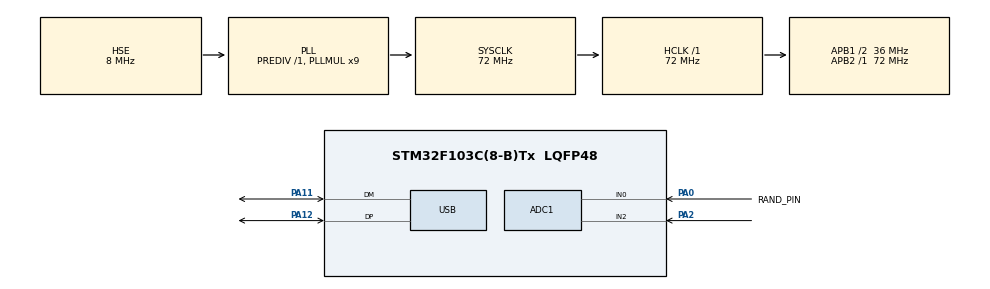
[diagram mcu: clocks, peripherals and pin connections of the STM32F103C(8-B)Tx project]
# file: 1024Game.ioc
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ADC1.Channel-0\#ChannelRegularConversion=ADC_CHANNEL_0
ADC1.Channel-1\#ChannelInjectedConversion=ADC_CHANNEL_2
ADC1.EnableInjectedConversion=ENABLE
ADC1.InjNumberOfConversion=1
ADC1.InjectedOffset-1\#ChannelInjectedConversion=0
ADC1.InjectedRank-1\#ChannelInjectedConversion=1
ADC1.NbrOfConversionFlag=1
ADC1.Rank-0\#ChannelRegularConversion=1
ADC1.SamplingTime-0\#ChannelRegularConversion=ADC_SAMPLETIME_1CYCLE_5
ADC1.SamplingTime-1\#ChannelInjectedConversion=ADC_SAMPLETIME_1CYCLE_5
ADC1.master=1
Mcu.Family=STM32F1
Mcu.Name=STM32F103C(8-B)Tx
Mcu.Package=LQFP48
NVIC.PriorityGroup=NVIC_PRIORITYGROUP_4
NVIC.USB_LP_CAN1_RX0_IRQn=true\:0\:0\:false\:false\:true\:false\:true\:true
PA0-WKUP.GPIO_Label=RAND_PIN
PA0-WKUP.Signal=ADCx_IN0
PA11.Mode=Device
PA11.Signal=USB_DM
PA12.Mode=Device
PA12.Signal=USB_DP
PA13.Mode=Serial_Wire
PA13.Signal=SYS_JTMS-SWDIO
PA14.Mode=Serial_Wire
PA14.Signal=SYS_JTCK-SWCLK
PA2.Signal=ADCx_IN2
PD0-OSC_IN.Mode=HSE-External-Oscillator
PD0-OSC_IN.Signal=RCC_OSC_IN
PD1-OSC_OUT.Mode=HSE-External-Oscillator
PD1-OSC_OUT.Signal=RCC_OSC_OUT
ProjectManager.HeapSize=0x200
ProjectManager.StackSize=0x400
ProjectManager.TargetToolchain=STM32CubeIDE
RCC.ADCPresc=RCC_ADCPCLK2_DIV6
RCC.AHBFreq_Value=72000000
RCC.APB1CLKDivider=RCC_HCLK_DIV2
RCC.APB1Freq_Value=36000000
RCC.APB1TimFreq_Value=72000000
RCC.APB2Freq_Value=72000000
RCC.APB2TimFreq_Value=72000000
RCC.HCLKFreq_Value=72000000
RCC.PLLMUL=RCC_PLL_MUL9
RCC.PLLSourceVirtual=RCC_PLLSOURCE_HSE
RCC.SYSCLKFreq_VALUE=72000000
RCC.SYSCLKSource=RCC_SYSCLKSOURCE_PLLCLK
RCC.USBFreq_Value=48000000
RCC.USBPrescaler=RCC_USBCLKSOURCE_PLL_DIV1_5
SH.ADCx_IN0.0=ADC1_IN0,IN0
SH.ADCx_IN2.0=ADC1_IN2,IN2
USB_DEVICE.CLASS_NAME_FS=CDC
USB_DEVICE.MANUFACTURER_STRING=STMicroelectronics
USB_DEVICE.PRODUCT_STRING_CDC_FS=1024 Game COM Port
USB_DEVICE.VirtualMode=Cdc
USB_DEVICE.VirtualModeFS=Cdc_FS
VP_USB_DEVICE_VS_USB_DEVICE_CDC_FS.Mode=CDC_FS
board=custom

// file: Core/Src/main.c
/* USER CODE BEGIN Header */
/* USER CODE END Header */
#include "main.h"

/* USER CODE BEGIN Includes */
#include "usbd_cdc_if.h"
/* USER CODE END Includes */

ADC_HandleTypeDef hadc1;

/* USER CODE BEGIN PV */
uint8_t buffer[8];
/* USER CODE END PV */

void SystemClock_Config(void);
static void MX_GPIO_Init(void);
static void MX_ADC1_Init(void);

/* USER CODE BEGIN 0 */

uint32_t getADCValue() {

	HAL_ADC_Start(&hadc1);
	HAL_ADCEx_InjectedStart(&hadc1);
	HAL_ADCEx_InjectedPollForConversion(&hadc1, 100);

	uint32_t adcVal = HAL_ADCEx_InjectedGetValue(&hadc1, ADC_INJECTED_RANK_1);

	HAL_ADC_Stop(&hadc1);

	return adcVal;
}

/* USER CODE END 0 */

int main(void) {

	/* MCU Configuration--------------------------------------------------------*/

	/* Reset of all peripherals, Initializes the Flash interface and the Systick. */
	HAL_Init();

	/* Configure the system clock */
	SystemClock_Config();

	/* Initialize all configured peripherals */
	MX_GPIO_Init();
	MX_USB_DEVICE_Init();
	MX_ADC1_Init();
	/* USER CODE BEGIN 2 */

	uint32_t initRandomNum = 0;

	for (int i = 0; i < 32; i++) {
		uint32_t adcVal = getADCValue();
		uint8_t oneBit = adcVal & 0x1;
		initRandomNum = (initRandomNum << 1) | oneBit;
	}

	srand(initRandomNum);

	// Инициализация игрового поля, все кроме difficulty = 0
	// Выбор сложности игры: difficulty = 8, 16, 32, 64, 128, 256, 512, 1024, 2048, 8192. НЕ БОЛЕЕ 8192.

	gameField_t gameField1 = {.difficulty = 1024};

	/* USER CODE END 2 */

	/* Infinite loop */
	/* USER CODE BEGIN WHILE */
	while (1) {
		if (buffer[0] != '\0') {
			shiftMain(buffer[0], &gameField1);
			memset(buffer, '\0', sizeof(buffer));
		}
		/* USER CODE END WHILE */

	}
}

void SystemClock_Config(void) {
	RCC_OscInitTypeDef RCC_OscInitStruct = { 0 };
	RCC_ClkInitTypeDef RCC_ClkInitStruct = { 0 };
	RCC_PeriphCLKInitTypeDef PeriphClkInit = { 0 };

	/** Initializes the RCC Oscillators according to the specified parameters
	 * in the RCC_OscInitTypeDef structure.
	 */
	RCC_OscInitStruct.OscillatorType = RCC_OSCILLATORTYPE_HSE;
	RCC_OscInitStruct.HSEState = RCC_HSE_ON;
	RCC_OscInitStruct.HSEPredivValue = RCC_HSE_PREDIV_DIV1;
	RCC_OscInitStruct.HSIState = RCC_HSI_ON;
	RCC_OscInitStruct.PLL.PLLState = RCC_PLL_ON;
	RCC_OscInitStruct.PLL.PLLSource = RCC_PLLSOURCE_HSE;
	RCC_OscInitStruct.PLL.PLLMUL = RCC_PLL_MUL9;
	if (HAL_RCC_OscConfig(&RCC_OscInitStruct) != HAL_OK) {
		Error_Handler();
	}

	/** Initializes the CPU, AHB and APB buses clocks
	 */
	RCC_ClkInitStruct.ClockType = RCC_CLOCKTYPE_HCLK | RCC_CLOCKTYPE_SYSCLK
			| RCC_CLOCKTYPE_PCLK1 | RCC_CLOCKTYPE_PCLK2;
	RCC_ClkInitStruct.SYSCLKSource = RCC_SYSCLKSOURCE_PLLCLK;
	RCC_ClkInitStruct.AHBCLKDivider = RCC_SYSCLK_DIV1;
	RCC_ClkInitStruct.APB1CLKDivider = RCC_HCLK_DIV2;
	RCC_ClkInitStruct.APB2CLKDivider = RCC_HCLK_DIV1;

	if (HAL_RCC_ClockConfig(&RCC_ClkInitStruct, FLASH_LATENCY_2) != HAL_OK) {
		Error_Handler();
	}
	PeriphClkInit.PeriphClockSelection = RCC_PERIPHCLK_ADC | RCC_PERIPHCLK_USB;
	PeriphClkInit.AdcClockSelection = RCC_ADCPCLK2_DIV6;
	PeriphClkInit.UsbClockSelection = RCC_USBCLKSOURCE_PLL_DIV1_5;
	if (HAL_RCCEx_PeriphCLKConfig(&PeriphClkInit) != HAL_OK) {
		Error_Handler();
	}
}

static void MX_ADC1_Init(void) {

	ADC_ChannelConfTypeDef sConfig = { 0 };
	ADC_InjectionConfTypeDef sConfigInjected = { 0 };

	/** Common config
	 */
	hadc1.Instance = ADC1;
	hadc1.Init.ScanConvMode = ADC_SCAN_DISABLE;
	hadc1.Init.ContinuousConvMode = DISABLE;
	hadc1.Init.DiscontinuousConvMode = DISABLE;
	hadc1.Init.ExternalTrigConv = ADC_SOFTWARE_START;
	hadc1.Init.DataAlign = ADC_DATAALIGN_RIGHT;
	hadc1.Init.NbrOfConversion = 1;
	if (HAL_ADC_Init(&hadc1) != HAL_OK) {
		Error_Handler();
	}

	/** Configure Regular Channel
	 */
	sConfig.Channel = ADC_CHANNEL_0;
	sConfig.Rank = ADC_REGULAR_RANK_1;
	sConfig.SamplingTime = ADC_SAMPLETIME_1CYCLE_5;
	if (HAL_ADC_ConfigChannel(&hadc1, &sConfig) != HAL_OK) {
		Error_Handler();
	}

	/** Configure Injected Channel
	 */
	sConfigInjected.InjectedChannel = ADC_CHANNEL_2;
	sConfigInjected.InjectedRank = ADC_INJECTED_RANK_1;
	sConfigInjected.InjectedNbrOfConversion = 1;
	sConfigInjected.InjectedSamplingTime = ADC_SAMPLETIME_1CYCLE_5;
	sConfigInjected.ExternalTrigInjecConv = ADC_INJECTED_SOFTWARE_START;
	sConfigInjected.AutoInjectedConv = DISABLE;
	sConfigInjected.InjectedDiscontinuousConvMode = DISABLE;
	sConfigInjected.InjectedOffset = 0;
	if (HAL_ADCEx_InjectedConfigChannel(&hadc1, &sConfigInjected) != HAL_OK) {
		Error_Handler();
	}

}

static void MX_GPIO_Init(void) {

	/* GPIO Ports Clock Enable */
	__HAL_RCC_GPIOD_CLK_ENABLE();
	__HAL_RCC_GPIOA_CLK_ENABLE();

}

void Error_Handler(void) {
	__disable_irq();
	while (1) {
	}
}
